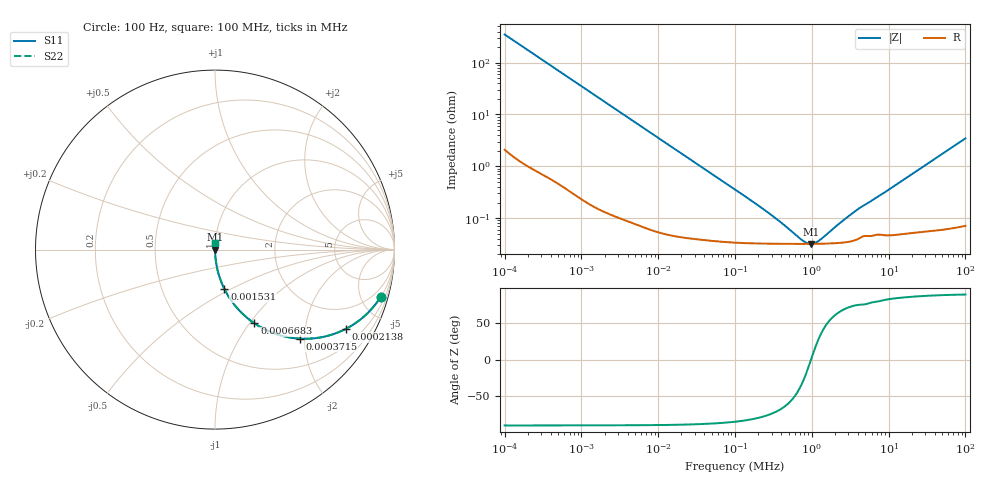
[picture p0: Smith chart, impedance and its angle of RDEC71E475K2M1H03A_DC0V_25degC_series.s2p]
!Murata Part Number: RDEC71E475K2M1H03A
!These Parameters are Measured in Series Mode Connection
!  o--ll--o
!Port1  Port2
!  o------o
!Operation Temp=25[degC], DC Bias Voltage=0[V]
!Freq. Start=100[Hz] Stop=100[MHz], 401[Steps]
!Data Generated on Dec 23, 2019
# Hz S RI R 50
!Freq.(Hz) S11(Real) S11(Imag) S21(Real) S21(Imag) S12(Real) S12(Imag) S22(Real) S22(Imag)
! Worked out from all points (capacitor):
!   401 points, 100 Hz to 100 MHz, reference 50 ohm
!   read as one part in series: C = 4.53 uF near 107.2 Hz
!   lowest |Z| = 31.8 mohm at 977.2 kHz (marker M1)
!   series resonance near 976.1 kHz, so ESL is about 5.9 nH
!   S11 on the Smith chart (normalised r, x): 100 Hz: 1.04, -7.01; 213.8 Hz: 1.02, -3.29; 371.5 Hz: 1.01, -1.90; 668.3 Hz: 1.01, -1.06; 1.531 kHz: 1.00, -0.46; 100 MHz: 1.00, +0.07
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100  0.9235 -0.2629  0.0765 0.2629  0.0765 0.2629  0.9235 -0.2629
146.2177  0.8508 -0.3535  0.1492 0.3535  0.1492 0.3535  0.8508 -0.3535
213.7962  0.7287 -0.4418  0.2713 0.4418  0.2713 0.4418  0.7287 -0.4418
281.8383  0.6084 -0.4851  0.3916 0.4851  0.3916 0.4851  0.6084 -0.4851
371.5352  0.4733 -0.4962  0.5267 0.4962  0.5267 0.4962  0.4733 -0.4962
489.7788  0.3423 -0.4712  0.6577 0.4712  0.6577 0.4712  0.3423 -0.4712
668.3439  0.2197 -0.4108  0.7803 0.4108  0.7803 0.4108  0.2197 -0.4108
1011.579  0.1104 -0.3102  0.8896 0.3102  0.8896 0.3102  0.1104 -0.3102
1531.087  0.0521 -0.2188  0.9479 0.2188  0.9479 0.2188  0.0521 -0.2188
3507.519  0.011 -0.1  0.989 0.1  0.989 0.1  0.011 -0.1
10232.93  0.00174 -0.0348  0.9983 0.0348  0.9983 0.0348  0.00174 -0.0348
100000  0.000348 -0.00356  0.9997 0.00356  0.9997 0.00356  0.000348 -0.00356
312607.9  0.000321 -0.00104  0.9997 0.00104  0.9997 0.00104  0.000321 -0.00104
741310.2  0.000317 -0.000207  0.9997 0.000207  0.9997 0.000207  0.000317 -0.000207
851138  0.000317 -0.000102  0.9997 0.000102  0.9997 0.000102  0.000317 -0.000102
977237.2  0.000318 9.06e-07  0.9997 -9.06e-07  0.9997 -9.06e-07  0.000318 9.06e-07
1011579  0.000318 2.66e-05  0.9997 -2.66e-05  0.9997 -2.66e-05  0.000318 2.66e-05
1288250  0.000319 0.000209  0.9997 -0.000209  0.9997 -0.000209  0.000319 0.000209
2398833  0.000334 0.000764  0.9997 -0.000764  0.9997 -0.000764  0.000334 0.000764
4027170  0.000399 0.00145  0.9996 -0.00145  0.9996 -0.00145  0.000399 0.00145
1.023293e7  0.000476 0.00358  0.9995 -0.00358  0.9995 -0.00358  0.000476 0.00358
1e8  0.0019 0.0345  0.9981 -0.0345  0.9981 -0.0345  0.0019 0.0345
